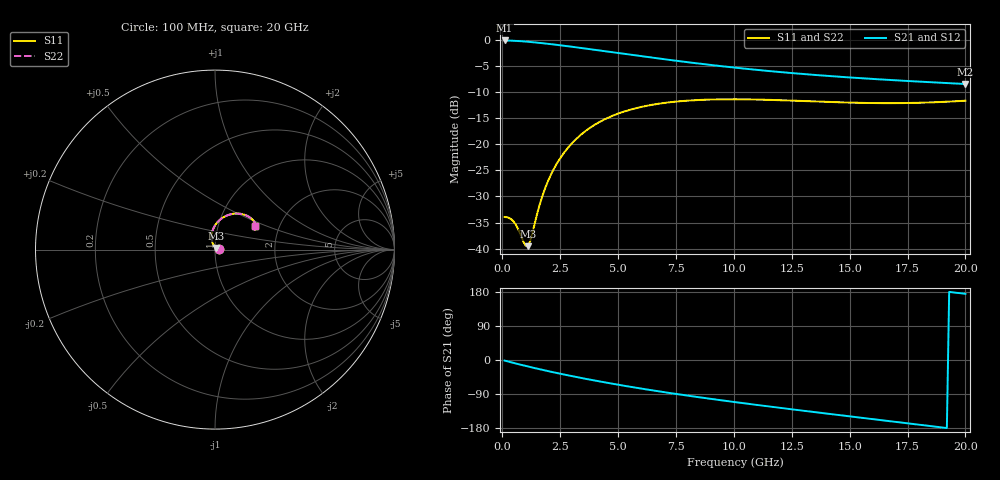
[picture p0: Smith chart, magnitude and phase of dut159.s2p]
! Touchstone file exported from HFSS 2024.1.0
!  File:  C:/UserFiles/LocalFiles/RDL_TSV_Batchsim/temp_RDL_TSV_159_1779433705.aedt
!  Generated:  03:23:31 PM May 22, 2026
!  Design:  RDL_TSV
!  Project:  temp_RDL_TSV_159_1779433705
!  Setup:  Setup1
!  Solution:  Sweep
! Variables:
!  dtsv = 9.13um
!  hbump = 3um
!  htsv = 88.18um
!  ldown = 542.49um
!  lrdl = 190.8um
!  p = 40
!  p1 = 40.37um
!  rhole = 10um
!  subl = 2390.67um
!  t = 450um
!  tdown = 2.39um
!  trdl = 3.22um
!  viad = 10um
!  wdown = 16.23um
!  wrdl = 17.38um
!  xbump = 18um
# GHz S MA R 50.000000
! Terminal data exported
! Port[1] = TM1_1_T1
! Port[2] = TM1_4_T1
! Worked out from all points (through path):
!   200 points, 100 MHz to 20 GHz, reference 50 ohm
!   highest |S21| = -0.18 dB at 100 MHz (marker M1); lowest = -8.5 dB at 20 GHz (marker M2)
!   group delay of S21, straight-line fit = 24.3 ps
!   lowest |S11| = -39.5 dB at 1.1 GHz (marker M3), VSWR 1.02, Z = 50.5 + j0.917 ohm
!   |S11| at or under -10 dB: start of sweep to end of sweep
!   |S22| runs from -39.5 to -11.4 dB; largest |S21 - S12| = 1.1e-14
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0.1  0.0201 1.8  0.9795 -1.6  0.9795 -1.6  0.0201 1.8
! Gamma 0 0 0 0
! Port Impedance 50 0 50 0
0.3  0.01967 4.5  0.9769 -4.8  0.9769 -4.8  0.01967 4.5
0.5  0.01806 7.0  0.9725 -7.9  0.9725 -7.9  0.01806 7.1
0.7  0.01517 12.7  0.9668 -11.0  0.9668 -11.0  0.01516 12.7
1  0.01072 41.5  0.9563 -15.5  0.9563 -15.5  0.01072 41.6
1.1  0.01058 59.1  0.9523 -17.0  0.9523 -17.0  0.01058 59.2
1.2  0.01175 76.4  0.948 -18.5  0.948 -18.5  0.01176 76.4
1.7  0.03036 109.0  0.9243 -25.6  0.9243 -25.6  0.03039 109.0
2.1  0.05102 109.3  0.9031 -31.0  0.9031 -31.0  0.05106 109.3
2.4  0.06765 106.5  0.8866 -34.9  0.8866 -34.9  0.06769 106.4
2.7  0.08458 102.7  0.8698 -38.8  0.8698 -38.8  0.08463 102.7
3.5  0.1285 91.6  0.8247 -48.5  0.8247 -48.5  0.1285 91.6
4.2  0.1628 82.2  0.786 -56.5  0.786 -56.5  0.1628 82.2
4.9  0.1919 73.7  0.7487 -64.1  0.7487 -64.1  0.1919 73.6
5.8  0.2213 64.0  0.7031 -73.4  0.7031 -73.4  0.2213 63.9
6.8  0.2442 54.8  0.6567 -83.1  0.6567 -83.1  0.2442 54.8
8.4  0.2636 43.4  0.5922 -97.4  0.5922 -97.4  0.2636 43.4
10.1  0.2683 34.8  0.5368 -111.5  0.5368 -111.5  0.2683 34.8
11.7  0.2642 29.5  0.4953 -124.0  0.4953 -124.0  0.2642 29.5
13.4  0.2562 26.6  0.4603 -136.9  0.4603 -136.9  0.2562 26.6
16.7  0.2463 27.1  0.4109 -161.2  0.4109 -161.2  0.2462 27.1
20  0.26 30.7  0.3757 174.6  0.3757 174.6  0.2598 30.7
